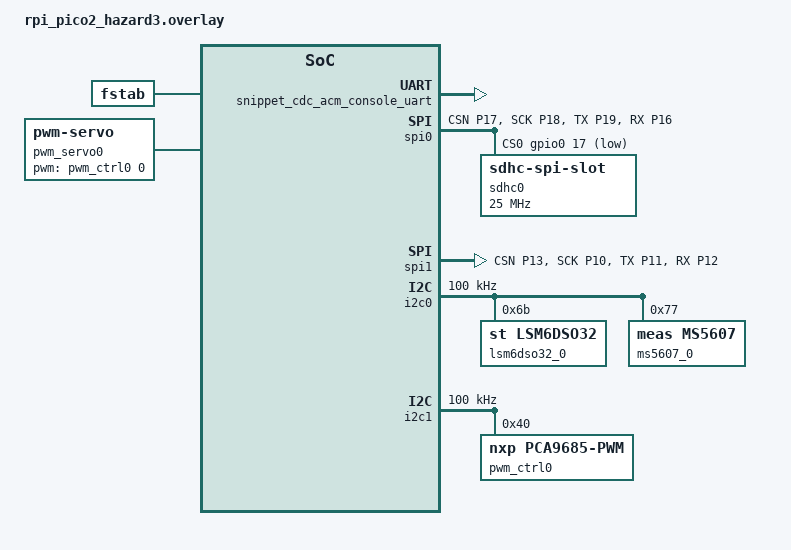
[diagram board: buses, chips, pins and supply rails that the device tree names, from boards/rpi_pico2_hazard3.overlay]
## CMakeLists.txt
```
#-------------------------------------------------------------------------------
# Hopper controller prototype
#
# Copyright (c) 2025 Auxspace e.V.
# SPDX-License-Identifier: Apache-2.0

cmake_minimum_required(VERSION 3.20.0)

find_package(Zephyr)
project(hopper_ctrl)

target_sources(app PRIVATE 
    src/main.c
    )

# Conditionally include usb_serial.c if CONFIG_USB_SERIAL is enabled
if(CONFIG_USB_SERIAL)
    target_sources(app PRIVATE src/usb_serial.c)
endif()

# Conditionally include usb_serial.c if CONFIG_SIMPLE_STORAGE is enabled
if(CONFIG_STORAGE)
    target_sources(app PRIVATE src/storage.c)
endif()

# Conditionally include gyro.c if CONFIG_GYRO is enabled
if(CONFIG_GYRO)
    target_sources(app PRIVATE src/gyro.c)
endif()
```

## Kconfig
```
# Copyright (c) 2025 Auxspace e.V.
# SPDX-License-Identifier: Apache-2.0
#
# This file is the application Kconfig entry point. All application Kconfig
# options can be defined here or included via other application Kconfig files.
# You can browse these options using the west targets menuconfig (terminal) or
# guiconfig (GUI).

menu "Zephyr"

source "Kconfig.zephyr"

endmenu

module = HUMMEL_CTRL
module-str = HUMMEL_CTRL
source "subsys/logging/Kconfig.template.log_config"

config USB_CONSOLE_SHELL
	bool "Support for USB serial console"
	help
		This option enables functionality for the aurora serial console via USB.

config SERVO
	bool "Enable servo control"
	help
		Enables servo control.
```

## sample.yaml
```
# This file is provided so that the application can be compiled using Twister,
# the Zephyr testing tool. In this file, multiple combinations can be specified,
# so that you can easily test all of them locally or in CI.
sample:
  description: AURORA HUMMEL Controller - An Auxspace Hopper Project
  name: HUMMEL Controller
common:
  build_only: true
  integration_platforms:
    - rpi_pico
    - rpi_pico2/rp2350a/hazard3
  platform_allow:
    - rpi_pico
    - rpi_pico2/rp2350a/hazard3
  modules:
    - fatfs
tests:
  app.default: {}
  app.debug:
    extra_overlay_confs:
      - debug.conf
```

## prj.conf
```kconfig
# common options, which apply to all boards (will be duplicated in board configs)

# DT options
CONFIG_USE_DT_CODE_PARTITION=y

# Console and Shell
CONFIG_CONSOLE=y
CONFIG_SHELL=y

# Boot banner
CONFIG_BOOT_BANNER_STRING="Booting AURORA - HUMMEL CTRL"

# Logging
CONFIG_LOG=y
CONFIG_LOG_DEFAULT_LEVEL=2
CONFIG_LOG_TIMESTAMP_USE_REALTIME=y
CONFIG_LOG_SPEED=y
CONFIG_LOG_THREAD_ID_PREFIX=y
CONFIG_LOG_OUTPUT_FORMAT_TIME_TIMESTAMP=y
CONFIG_LOG_CMDS=y
```

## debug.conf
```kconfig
# Copyright (c) 2025 Auxspace e.V.
# SPDX-License-Identifier: Apache-2.0
#
# This is a Kconfig fragment which can be used to enable debug-related options
# in the application. See the README for more details.

# compiler
CONFIG_DEBUG_OPTIMIZATIONS=y

# logging
CONFIG_LOG=y
CONFIG_FS_LOG_LEVEL_DBG=y
CONFIG_SD_LOG_LEVEL_DBG=y
CONFIG_SENSOR_LOG_LEVEL_DBG=y
CONFIG_USB_CDC_ACM_LOG_LEVEL_DBG=y
CONFIG_HOPPER_CTRL_LOG_LEVEL_DBG=y
```

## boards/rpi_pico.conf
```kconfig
CONFIG_MAIN_STACK_SIZE=2048
CONFIG_CLOCK_CONTROL=y
CONFIG_USE_DT_CODE_PARTITION=y
CONFIG_BUILD_OUTPUT_HEX=y
CONFIG_GPIO=y
CONFIG_LOG=y
CONFIG_RESET=y
CONFIG_CONSOLE=y
CONFIG_AURORA_SENSORS=y
CONFIG_IMU=y
CONFIG_BARO_OS_4096X=y
CONFIG_AURORA_STATE_MACHINE=y
CONFIG_BOOT_BANNER_STRING="Booting AURORA - HUMMEL CTRL"
CONFIG_UART_CONSOLE=y
CONFIG_PWM=y
CONFIG_PWM_SHELL=y
CONFIG_SENSOR=y
CONFIG_LSM6DSO_ENABLE_TEMP=y
CONFIG_UART_LINE_CTRL=y
CONFIG_FILE_SYSTEM=y
CONFIG_FILE_SYSTEM_SHELL=y
CONFIG_FILE_SYSTEM_SHELL_TEST_COMMANDS=y
CONFIG_FILE_SYSTEM_MKFS=y
CONFIG_FAT_FILESYSTEM_ELM=y
CONFIG_FS_FATFS_EXFAT=y
CONFIG_FS_FATFS_LBA64=y
CONFIG_FS_FATFS_CUSTOM_MOUNT_POINT_COUNT=1
CONFIG_FS_FATFS_CUSTOM_MOUNT_POINTS="MMC"
CONFIG_FS_FATFS_FSTAB_AUTOMOUNT=y
CONFIG_LOG_DEFAULT_LEVEL=2
CONFIG_LOG_TIMESTAMP_USE_REALTIME=y
CONFIG_LOG_SPEED=y
CONFIG_LOG_THREAD_ID_PREFIX=y
CONFIG_LOG_INFO_COLOR_GREEN=y
CONFIG_LOG_DBG_COLOR_BLUE=y
CONFIG_LOG_OUTPUT_FORMAT_TIME_TIMESTAMP=y
CONFIG_LOG_BACKEND_FS=y
# CONFIG_LOG_BACKEND_FS_APPEND_TO_NEWEST_FILE is not set
CONFIG_LOG_BACKEND_FS_DIR="/MMC:/logs"
CONFIG_LOG_BACKEND_FS_FILES_LIMIT=512
CONFIG_LOG_BACKEND_UART=y
CONFIG_LOG_CMDS=y
# CONFIG_LOG_MEM_UTILIZATION is not set
CONFIG_MMC_STACK=y
CONFIG_SHELL=y
CONFIG_USB_DEVICE_STACK_NEXT=y
CONFIG_USBD_CDC_ACM_LOG_LEVEL_OFF=y
CONFIG_CDC_ACM_SERIAL_INITIALIZE_AT_BOOT=y
CONFIG_BUILD_OUTPUT_UF2=y
CONFIG_USB_CONSOLE_SHELL=y
CONFIG_SERVO=y
```

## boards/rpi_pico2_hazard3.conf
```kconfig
CONFIG_MAIN_STACK_SIZE=2048
CONFIG_CLOCK_CONTROL=y
CONFIG_USE_DT_CODE_PARTITION=y
CONFIG_BUILD_OUTPUT_HEX=y
CONFIG_GPIO=y
CONFIG_LOG=y
CONFIG_RESET=y
CONFIG_CONSOLE=y
CONFIG_AURORA_SENSORS=y
CONFIG_IMU=y
CONFIG_BARO=y
CONFIG_BARO_OS_4096X=y
CONFIG_AURORA_STATE_MACHINE=y
CONFIG_BOOT_BANNER_STRING="Booting AURORA - HUMMEL CTRL"
CONFIG_UART_CONSOLE=y
CONFIG_SENSOR=y
CONFIG_LSM6DSO_ENABLE_TEMP=y
CONFIG_UART_LINE_CTRL=y
CONFIG_FILE_SYSTEM=y
CONFIG_FILE_SYSTEM_SHELL=y
CONFIG_FILE_SYSTEM_SHELL_TEST_COMMANDS=y
CONFIG_FILE_SYSTEM_MKFS=y
CONFIG_FAT_FILESYSTEM_ELM=y
CONFIG_FS_FATFS_EXFAT=y
CONFIG_FS_FATFS_LBA64=y
CONFIG_FS_FATFS_CUSTOM_MOUNT_POINT_COUNT=1
CONFIG_FS_FATFS_CUSTOM_MOUNT_POINTS="MMC"
CONFIG_FS_FATFS_FSTAB_AUTOMOUNT=y
CONFIG_LOG_DEFAULT_LEVEL=2
CONFIG_LOG_TIMESTAMP_USE_REALTIME=y
CONFIG_LOG_SPEED=y
CONFIG_LOG_THREAD_ID_PREFIX=y
CONFIG_LOG_INFO_COLOR_GREEN=y
CONFIG_LOG_DBG_COLOR_BLUE=y
CONFIG_LOG_OUTPUT_FORMAT_TIME_TIMESTAMP=y
CONFIG_LOG_BACKEND_FS=y
# CONFIG_LOG_BACKEND_FS_APPEND_TO_NEWEST_FILE is not set
CONFIG_LOG_BACKEND_FS_DIR="/MMC:/logs"
CONFIG_LOG_BACKEND_FS_FILES_LIMIT=512
CONFIG_LOG_BACKEND_UART=y
CONFIG_LOG_CMDS=y
# CONFIG_LOG_MEM_UTILIZATION is not set
CONFIG_MMC_STACK=y
CONFIG_SHELL=y
CONFIG_USB_DEVICE_STACK_NEXT=y
CONFIG_USBD_CDC_ACM_LOG_LEVEL_OFF=y
CONFIG_CDC_ACM_SERIAL_INITIALIZE_AT_BOOT=y
CONFIG_BUILD_OUTPUT_UF2=y
CONFIG_USB_CONSOLE_SHELL=y
```

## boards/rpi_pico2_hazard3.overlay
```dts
/*
 * Copyright (c) 2025 Auxspace e.V.
 * SPDX-License-Identifier: Apache-2.0
 */

/ {
	chosen {
		/* Console and shell over CDC ACM */
		zephyr,console = &snippet_cdc_acm_console_uart;
		zephyr,shell-uart = &snippet_cdc_acm_console_uart;

		/* Sensors */
		auxspace,baro = &ms5607_0;
		auxspace,imu = &lsm6dso32_0;

		/* Storage */
		auxspace,mmc = &mmc0;
		auxspace,ffs = &ffs0;

		/* motor */
		auxspace,servo = &pwm_servo0;
	};

	fstab {
		compatible = "zephyr,fstab";
		ffs0: ffs0 {
			compatible = "zephyr,fstab,fatfs";
			automount;
			disk-access;
			mount-point = "/MMC:";
		};
	};

	pwm_servo0: pwm_servo {
		compatible = "pwm-servo";
		pwms = <&pwm_ctrl0 0 PWM_MSEC(20) PWM_POLARITY_NORMAL>;
		min-pulse = <PWM_USEC(700)>;
		max-pulse = <PWM_USEC(2500)>;
	};
};

&zephyr_udc0 {
	snippet_cdc_acm_console_uart: snippet_cdc_acm_console_uart {
		compatible = "zephyr,cdc-acm-uart";
	};
};

&pinctrl {
	spi0_default: spi0_default {
		group1 {
			pinmux = <SPI0_CSN_P17>, <SPI0_SCK_P18>, <SPI0_TX_P19>;
		};
		group2 {
			pinmux = <SPI0_RX_P16>;
			input-enable;
		};
	};

	spi1_default: spi1_default {
		group1 {
			pinmux = <SPI1_CSN_P13>, <SPI1_SCK_P10>, <SPI1_TX_P11>;
		};
		group2 {
			pinmux = <SPI1_RX_P12>;
			input-enable;
		};
	};

	i2c0_default: i2c0_default {
		group1 {
			pinmux = <I2C0_SDA_P20>, <I2C0_SCL_P21>;
			input-enable;
			input-schmitt-enable;
		};
	};

	i2c1_default: i2c1_default {
		group1 {
			pinmux = <I2C1_SDA_P2>, <I2C1_SCL_P3>;
			input-enable;
			input-schmitt-enable;
		};
	};
};

&spi0 {
	status = "okay";
	cs-gpios = <&gpio0 17 GPIO_ACTIVE_LOW>;

	pinctrl-0 = <&spi0_default>;
	pinctrl-names = "default";

	sdhc0: sdhc@0 {
		compatible = "zephyr,sdhc-spi-slot";
		reg = <0>;
		status = "okay";
		mmc0: mmc {
			compatible = "zephyr,sdmmc-disk";
			disk-name = "MMC";
			status = "okay";
		};
		spi-max-frequency = <25000000>;
	};
};

&spi1 {
	status = "okay";
	cs-gpios = <&gpio0 13 GPIO_ACTIVE_LOW>;
	pinctrl-0 = <&spi1_default>;
	pinctrl-names = "default";
};

&i2c0 {
	status = "okay";
	clock-frequency = <I2C_BITRATE_STANDARD>;
	pinctrl-0 = <&i2c0_default>;
	pinctrl-names = "default";

	lsm6dso32_0: lsm6dso32@6b {
		compatible = "st,lsm6dso32";
		reg = <0x6b>;
		status = "okay";
	};

	ms5607_0: ms5607@77 {
		compatible = "meas,ms5607";
		reg = <0x77>;
		status = "okay";
	};
};

&i2c1 {
	status = "okay";
	clock-frequency = <I2C_BITRATE_STANDARD>;
	pinctrl-0 = <&i2c1_default>;
	pinctrl-names = "default";

	pwm_ctrl0: pca9685@40 {
		status = "okay";
		compatible = "nxp,pca9685-pwm";
		reg = <0x40>;
		#pwm-cells = <3>;
	};
};

&gpio0 {
	status = "okay";
};
```

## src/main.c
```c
/*
 * Copyright (c) 2025 Auxspace e.V.
 * SPDX-License-Identifier: Apache-2.0
 */

#include <stdlib.h>
#include <stdio.h>
#include <zephyr/kernel.h>
#include <zephyr/logging/log.h>
#include <zephyr/devicetree.h>
#include <zephyr/device.h>

#include <app_version.h>

#if defined(CONFIG_SERVO)
#include <zephyr/drivers/pwm.h>
#endif /* CONFIG_SERVO */

#if defined(CONFIG_IMU)
#include <lib/imu.h>
#endif /* CONFIG_IMU */

LOG_MODULE_REGISTER(main, CONFIG_HUMMEL_CTRL_LOG_LEVEL);

#if defined(CONFIG_SERVO)
#define STEP PWM_USEC(100)
void servo_task(void *, void *, void *)
{
	const struct pwm_dt_spec servo = PWM_DT_SPEC_GET(DT_NODELABEL(servo0));
	const uint32_t min_pulse = DT_PROP(DT_NODELABEL(servo0), min_pulse);
	const uint32_t max_pulse = DT_PROP(DT_NODELABEL(servo0), max_pulse);
	enum direction {
		DOWN,
		UP,
	};

	uint32_t pulse_width = min_pulse;
	enum direction dir = UP;
	int ret;

	LOG_INF("Servomotor control\n");

	if (!pwm_is_ready_dt(&servo)) {
		LOG_ERR("Error: PWM device %s is not ready\n", servo.dev->name);
		return;
	}

	LOG_INF("Servomotor control started!\n");
	while (1) {
		ret = pwm_set_pulse_dt(&servo, pulse_width);
		if (ret < 0) {
			LOG_ERR("Error %d: failed to set pulse width\n", ret);
			return;
		}

		if (dir == DOWN) {
			if (pulse_width <= min_pulse) {
				dir = UP;
				pulse_width = min_pulse;
			} else {
				pulse_width -= STEP;
			}
		} else {
			pulse_width += STEP;

			if (pulse_width >= max_pulse) {
				dir = DOWN;
				pulse_width = max_pulse;
			}
		}
		k_sleep(K_SECONDS(1));
	}
}
/* Create the Servo task (inactive unless CONFIG_SERVO=y) */
K_THREAD_DEFINE(servo_task_id, 2048, servo_task, NULL, NULL, NULL,
				5, 0, 0);
#endif

/* ============================================================
 *                     IMU TASK
 * ============================================================ */
#if defined(CONFIG_IMU)
void imu_task(void *, void *, void *)
{
	static float orientation = 0.0f;
	static float acceleration = 0.0f;

	const struct device *imu0 = DEVICE_DT_GET(DT_CHOSEN(auxspace_imu));
	const int imu_hz = CONFIG_IMU_FREQUENCY_VALUE;

	imu_init(imu0);

	while (1) {
		int rc = imu_poll(imu0, &orientation, &acceleration);
		if (rc != 0) {
			LOG_ERR("IMU polling failed (%d)", rc);
			break;
		}

		LOG_INF("orientation: %f deg. acc: %f\n", (double)orientation, (double)acceleration);

		k_sleep(K_MSEC(1000 / imu_hz));
	}

	LOG_INF("IMU task stopped.");
}

/* Create the IMU task (inactive unless CONFIG_IMU=y) */
K_THREAD_DEFINE(imu_task_id, 2048, imu_task, NULL, NULL, NULL,
				5, 0, 0);

#endif /* CONFIG_IMU */

/* ============================================================
 *                     MAIN INITIALIZATION
 * ============================================================ */
int main(void)
{
	LOG_INF("Auxspace AURORA - HUMMEL: %s", APP_VERSION_STRING);

	/* Threads start automatically via K_THREAD_DEFINE */

	return 0;
}
```

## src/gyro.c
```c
/*
 * Copyright (c) 2025, Auxspace e.V.
 *
 * SPDX-License-Identifier: Apache-2.0
 */

#include <stdlib.h>
#include <stdio.h>
#include <zephyr/kernel.h>
#include <zephyr/device.h>
#include <zephyr/drivers/sensor.h>

#include <lib/gyro.h>

int gyro_init(const struct device *dev) {
  if (!device_is_ready(dev)) {
    printk("%s: device not ready.\n", dev->name);
    return -ENODEV;
  }

  return 0;
}
```

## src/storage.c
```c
/*
 * Copyright (c) 2025, Auxspace e.V.
 *
 * SPDX-License-Identifier: Apache-2.0
 */

#include <errno.h>
#include <zephyr/device.h>
#include <zephyr/storage/disk_access.h>
#include <zephyr/fs/fs.h>
#include <zephyr/logging/log.h>

#include <ff.h>

#include <lib/storage.h>

LOG_MODULE_REGISTER(simple_storage, CONFIG_HUMMEL_CTRL_LOG_LEVEL);

#define FS_RET_OK	FR_OK

static FATFS fat_fs;
/* mounting info */
static struct fs_mount_t mp = {
	.type = FS_FATFS,
	.fs_data = &fat_fs,
};

static const char *disk_mount_pt = DISK_MOUNT_PT;

/* List dir entry by path
 *
 * @param path Absolute path to list
 *
 * @return Negative errno code on error, number of listed entries on
 *         success.
 */
static int lsdir(const char *path)
{
	int res;
	struct fs_dir_t dirp;
	static struct fs_dirent entry;
	int count = 0;

	fs_dir_t_init(&dirp);

	/* Verify fs_opendir() */
	res = fs_opendir(&dirp, path);
	if (res) {
		LOG_ERR("Error opening dir %s [%d]\n", path, res);
		return res;
	}

	LOG_INF("Listing dir %s ...\n", path);
	for (;;) {
		/* Verify fs_readdir() */
		res = fs_readdir(&dirp, &entry);

		/* entry.name[0] == 0 means end-of-dir */
		if (res || entry.name[0] == 0) {
			break;
		}

		if (entry.type == FS_DIR_ENTRY_DIR) {
			LOG_INF("[DIR ] %s\n", entry.name);
		} else {
			LOG_INF("[FILE] %s (size = %zu)\n",
				entry.name, entry.size);
		}
		count++;
	}

	/* Verify fs_closedir() */
	fs_closedir(&dirp);
	if (res == 0) {
		res = count;
	}

	return res;
}

int init_sd()
{
    /* raw disk i/o */
	static const char *disk_pdrv = DISK_DRIVE_NAME;
	uint64_t memory_size_mb;
	uint32_t block_count;
	uint32_t block_size;

	if (disk_access_ioctl(disk_pdrv,
			DISK_IOCTL_CTRL_INIT, NULL) != 0) {
		LOG_ERR("Storage init ERROR!");
		return -EIO;
	}

	if (disk_access_ioctl(disk_pdrv,
			DISK_IOCTL_GET_SECTOR_COUNT, &block_count)) {
		LOG_ERR("Unable to get sector count");
		return -EIO;
	}
	LOG_INF("Block count %u", block_count);

	if (disk_access_ioctl(disk_pdrv,
			DISK_IOCTL_GET_SECTOR_SIZE, &block_size)) {
		LOG_ERR("Unable to get sector size");
		return -EIO;
	}
	LOG_INF("Sector size %u\n", block_size);

	memory_size_mb = (uint64_t)block_count * block_size;
	LOG_INF("Memory Size(MB) %u\n", (uint32_t)(memory_size_mb >> 20));

	mp.mnt_point = disk_mount_pt;

	int res = fs_mount(&mp);

	if (res == FS_RET_OK)
		LOG_INF("Disk mounted.\n");

	int entries = lsdir(disk_mount_pt);
	LOG_INF("%d entries on drive.", entries);

	if (disk_access_ioctl(disk_pdrv,
		DISK_IOCTL_CTRL_DEINIT, NULL) != 0) {
		LOG_ERR("Storage deinit ERROR!");
		return -EIO;
	}

	return entries < 0 ? -EIO : 0;
}

int storage_init()
{
    return init_sd();
}
```

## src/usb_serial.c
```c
#include <zephyr/kernel.h>
#include <zephyr/drivers/uart.h>
#include <zephyr/usb/usb_device.h>
#include <zephyr/sys/printk.h>
#include <zephyr/sys/util.h>

#include <string.h>

#include <lib/usb_serial.h>

LOG_MODULE_REGISTER(usb_serial, CONFIG_HUMMEL_CTRL_LOG_LEVEL);

/* Check overlay exists for CDC UART console */ 
BUILD_ASSERT(DT_NODE_HAS_COMPAT(DT_CHOSEN(zephyr_console), zephyr_cdc_acm_uart),
	    "Console device is not ACM CDC UART device");

int init_usb_serial() {
    const struct device *usb_device = DEVICE_DT_GET(DT_CHOSEN(zephyr_console));
    uint32_t dtr = 0;

    if (usb_enable(NULL) != 0) {
        return 1;
    }

    while (!dtr) {
        uart_line_ctrl_get(usb_device, UART_LINE_CTRL_DTR, &dtr);
        k_sleep(K_MSEC(100));
    }

    return 0;
}
```
